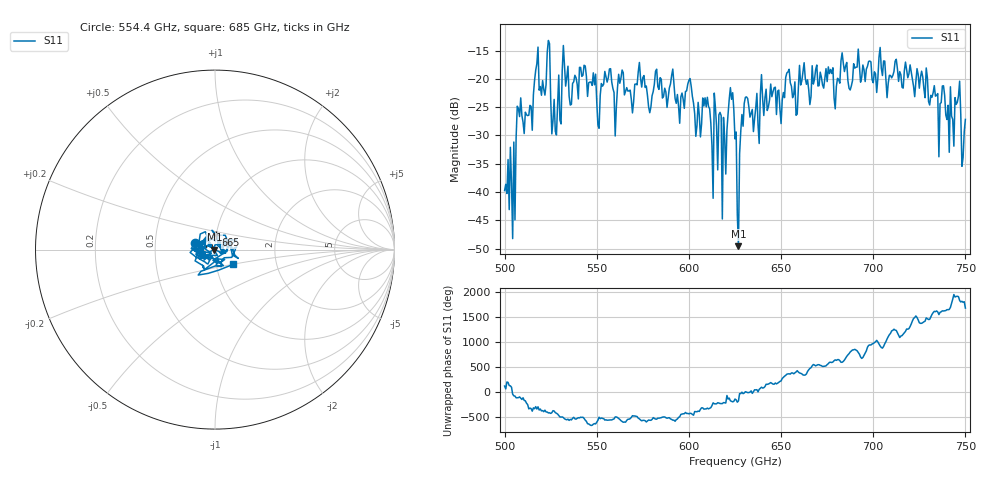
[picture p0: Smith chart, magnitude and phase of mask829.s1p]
!Created with skrf (http://scikit-rf.org).
# GHz S MA R 50.0
!freq magS11 angS11
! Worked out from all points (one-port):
!   401 points, 500 GHz to 750 GHz, reference 50 ohm
!   lowest |S11| = -49.6 dB at 626.9 GHz (marker M1), VSWR 1.01, Z = 49.7 - j0.0221 ohm
!   |S11| at or under -10 dB: start of sweep to end of sweep
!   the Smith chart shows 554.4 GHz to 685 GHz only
!   S11 on the Smith chart (normalised r, x): 554.4 GHz: 0.80, +0.06; 665 GHz: 1.00, +0.16; 685 GHz: 1.20, -0.20
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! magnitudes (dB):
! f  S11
! 500 GHz  -39.7
! 505 GHz  -31.2
! 507.5 GHz  -25.2
! 513.8 GHz  -24.7
! 516.9 GHz  -18.5
! 523.8 GHz  -13.2
! 526.9 GHz  -23.6
! 531.2 GHz  -18.6
! 542.5 GHz  -19.4
! 551.2 GHz  -28.7
! 554.4 GHz  -18.7
! 560 GHz  -30.1
! 562.5 GHz  -20.8
! 593.8 GHz  -22.8
! 610 GHz  -23.3
! 619.4 GHz  -30.2
! 623.1 GHz  -23.6
! 625 GHz  -30.6
! 626.9 GHz  -49.6
! 631.2 GHz  -23.2
! 656.2 GHz  -23.3
! 665 GHz  -21.9
! 685 GHz  -17.7
! 687.5 GHz  -22.0
! 718.8 GHz  -19.8
! 742.5 GHz  -26.6
! 745.6 GHz  -24.1
! 750 GHz  -27.2
